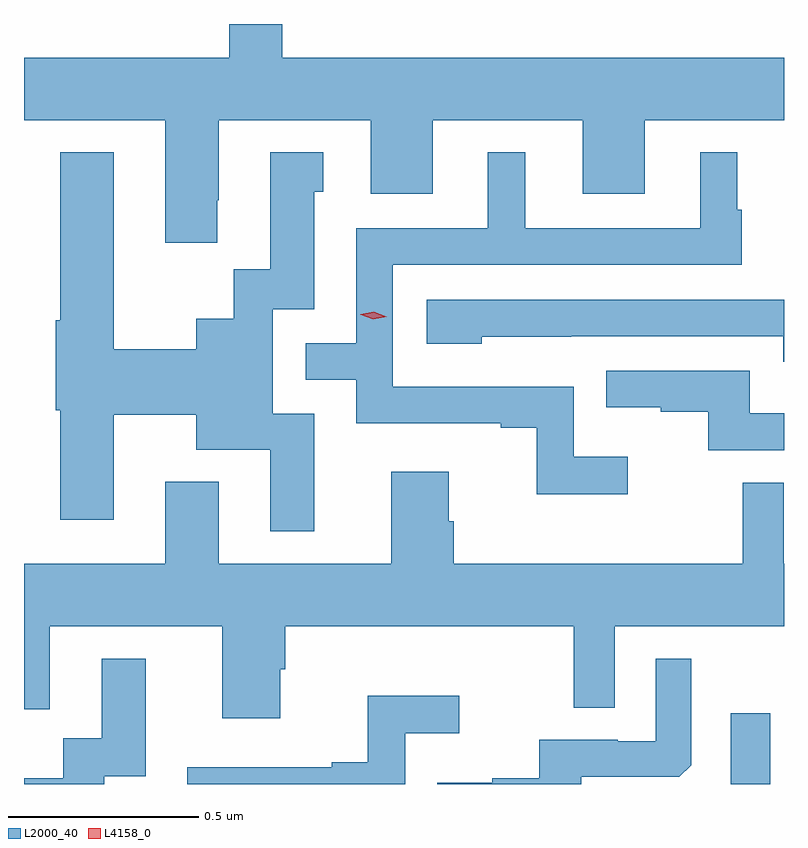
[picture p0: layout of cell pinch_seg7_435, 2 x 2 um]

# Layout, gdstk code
import gdstk
lib = gdstk.Library(unit=1e-6, precision=1e-09)
def R(c, l, rs):  # rectangles x0, y0, x1, y1
    for r in rs: c.add(gdstk.rectangle(r[:2], r[2:], *l))
def P(c, l, *ps):  # polygons
    for p in ps: c.add(gdstk.Polygon(p, *l))
L2000_40 = (2000, 40)
L4158_0 = (4158, 0)

pinch_seg7_435 = lib.new_cell('pinch_seg7_435')
R(pinch_seg7_435, L2000_40, [(311.939,1072.129,312.043,1072.315)])
P(pinch_seg7_435, L2000_40, [(310.588,1073.665),(310.591,1073.665),(310.591,1073.876),(310.991,1073.876),(310.991,1073.682),(311.155,1073.682),(311.155,1073.876),(311.549,1073.876),(311.549,1073.682),(311.713,1073.682),(311.713,1073.876),(312.079,1073.876),(312.079,1074.04),(310.759,1074.04),(310.759,1074.129),(310.619,1074.129),(310.619,1074.04),(310.079,1074.04),(310.079,1073.876),(310.451,1073.876),(310.451,1073.553),(310.588,1073.553)],
  [(311.668,1072.99),(311.526,1072.99),(311.526,1073.175),(311.049,1073.175),(311.049,1073.496),(311.968,1073.496),(311.968,1073.64),(311.956,1073.64),(311.956,1073.791),(311.858,1073.791),(311.858,1073.592),(311.398,1073.592),(311.398,1073.791),(311.3,1073.791),(311.3,1073.592),(310.953,1073.592),(310.953,1073.289),(310.82,1073.289),(310.82,1073.193),(310.953,1073.193),(310.953,1073.079),(311.333,1073.079),(311.333,1073.067),(311.428,1073.067),(311.428,1072.892),(311.668,1072.892)],
  [(310.843,1073.103),(310.734,1073.103),(310.734,1073.379),(310.843,1073.379),(310.843,1073.688),(310.867,1073.688),(310.867,1073.791),(310.727,1073.791),(310.727,1073.484),(310.631,1073.484),(310.631,1073.353),(310.532,1073.353),(310.532,1073.273),(310.315,1073.273),(310.315,1073.791),(310.175,1073.791),(310.175,1073.349),(310.163,1073.349),(310.163,1073.112),(310.175,1073.112),(310.175,1072.824),(310.315,1072.824),(310.315,1073.101),(310.532,1073.101),(310.532,1073.009),(310.727,1073.009),(310.727,1072.794),(310.843,1072.794)],
  [(312.079,1073.403),(311.139,1073.403),(311.139,1073.288),(311.283,1073.288),(311.283,1073.306),(311.519,1073.306),(311.519,1073.307),(312.077,1073.307),(312.077,1073.24),(312.079,1073.24)],
  [(312.079,1073.105),(311.989,1073.105),(311.989,1073.217),(311.611,1073.217),(311.611,1073.12),(311.755,1073.12),(311.755,1073.109),(311.879,1073.109),(311.879,1073.007),(312.079,1073.007)],
  [(310.753,1072.431),(310.766,1072.431),(310.766,1072.544),(311.526,1072.544),(311.526,1072.33),(311.634,1072.33),(311.634,1072.544),(312.079,1072.544),(312.079,1072.708),(312.078,1072.708),(312.078,1072.922),(311.97,1072.922),(311.97,1072.708),(311.21,1072.708),(311.21,1072.821),(311.197,1072.821),(311.197,1072.951),(311.045,1072.951),(311.045,1072.708),(310.591,1072.708),(310.591,1072.924),(310.451,1072.924),(310.451,1072.708),(310.079,1072.708),(310.079,1072.326),(310.147,1072.326),(310.147,1072.544),(310.601,1072.544),(310.601,1072.302),(310.753,1072.302)],
  [(311.545,1072.148),(311.803,1072.148),(311.835,1072.179),(311.835,1072.459),(311.742,1072.459),(311.742,1072.242),(311.642,1072.242),(311.642,1072.245),(311.435,1072.245),(311.435,1072.144),(311.311,1072.144),(311.311,1072.132),(311.167,1072.132),(311.167,1072.129),(311.545,1072.129)],
  [(310.29,1072.149),(310.399,1072.149),(310.399,1072.459),(310.283,1072.459),(310.283,1072.25),(310.182,1072.25),(310.182,1072.144),(310.079,1072.144),(310.079,1072.129),(310.29,1072.129)],
  [(311.082,1072.262),(311.224,1072.262),(311.224,1072.361),(310.984,1072.361),(310.984,1072.186),(310.889,1072.186),(310.889,1072.173),(310.509,1072.173),(310.509,1072.129),(311.082,1072.129)])
P(pinch_seg7_435, L4158_0, [(310.998,1073.352),(310.965,1073.364),(310.964,1073.364),(310.965,1073.365),(311,1073.372),(311.033,1073.359),(311.034,1073.359),(311.033,1073.359)])

lib.write_gds('pinch_seg7_435.gds')
